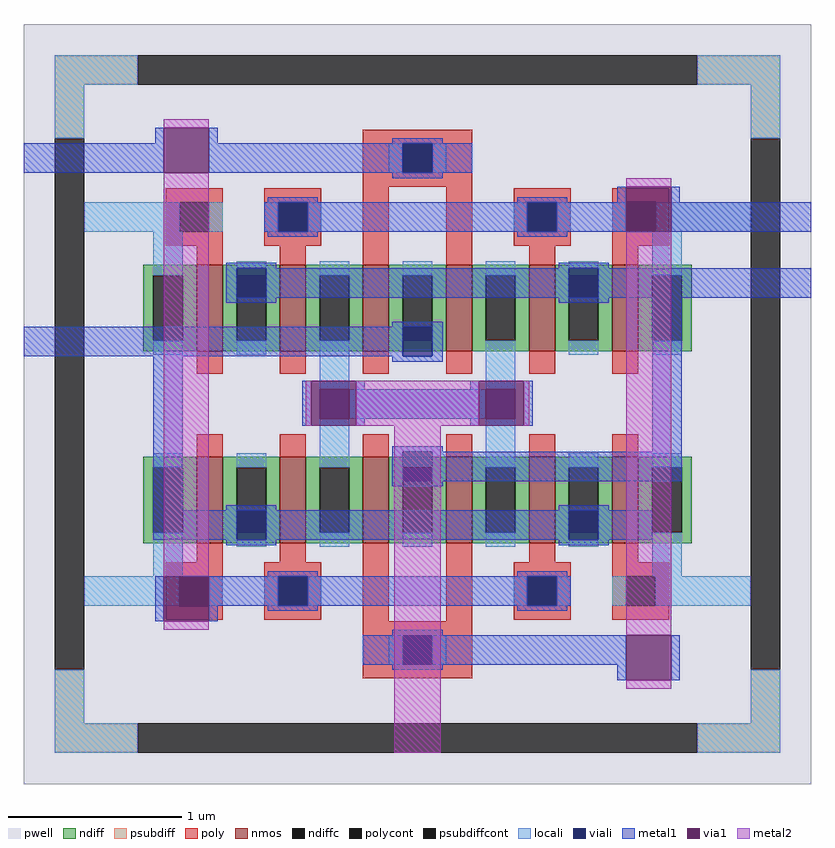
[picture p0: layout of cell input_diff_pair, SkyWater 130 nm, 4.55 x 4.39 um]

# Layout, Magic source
magic
tech sky130A
magscale 1 2
<< pwell >>
rect -455 -548 455 330
<< nmos >>
rect -255 -48 -225 52
rect -159 -48 -129 52
rect -63 -48 -33 52
rect 33 -48 63 52
rect 129 -48 159 52
rect 225 -48 255 52
rect -255 -270 -225 -170
rect -159 -270 -129 -170
rect -63 -270 -33 -170
rect 33 -270 63 -170
rect 129 -270 159 -170
rect 225 -270 255 -170
<< ndiff >>
rect -317 40 -255 52
rect -317 -36 -305 40
rect -271 -36 -255 40
rect -317 -48 -255 -36
rect -225 40 -159 52
rect -225 -36 -209 40
rect -175 -36 -159 40
rect -225 -48 -159 -36
rect -129 40 -63 52
rect -129 -36 -113 40
rect -79 -36 -63 40
rect -129 -48 -63 -36
rect -33 40 33 52
rect -33 -36 -17 40
rect 17 -36 33 40
rect -33 -48 33 -36
rect 63 40 129 52
rect 63 -36 79 40
rect 113 -36 129 40
rect 63 -48 129 -36
rect 159 40 225 52
rect 159 -36 175 40
rect 209 -36 225 40
rect 159 -48 225 -36
rect 255 40 317 52
rect 255 -36 271 40
rect 305 -36 317 40
rect 255 -48 317 -36
rect -317 -182 -255 -170
rect -317 -258 -305 -182
rect -271 -258 -255 -182
rect -317 -270 -255 -258
rect -225 -182 -159 -170
rect -225 -258 -209 -182
rect -175 -258 -159 -182
rect -225 -270 -159 -258
rect -129 -182 -63 -170
rect -129 -258 -113 -182
rect -79 -258 -63 -182
rect -129 -270 -63 -258
rect -33 -182 33 -170
rect -33 -258 -17 -182
rect 17 -258 33 -182
rect -33 -270 33 -258
rect 63 -182 129 -170
rect 63 -258 79 -182
rect 113 -258 129 -182
rect 63 -270 129 -258
rect 159 -182 225 -170
rect 159 -258 175 -182
rect 209 -258 225 -182
rect 159 -270 225 -258
rect 255 -182 317 -170
rect 255 -258 271 -182
rect 305 -258 317 -182
rect 255 -270 317 -258
<< ndiffc >>
rect -305 -36 -271 40
rect -209 -36 -175 40
rect -113 -36 -79 40
rect -17 -36 17 40
rect 79 -36 113 40
rect 175 -36 209 40
rect 271 -36 305 40
rect -305 -258 -271 -182
rect -209 -258 -175 -182
rect -113 -258 -79 -182
rect -17 -258 17 -182
rect 79 -258 113 -182
rect 175 -258 209 -182
rect 271 -258 305 -182
<< psubdiff >>
rect -419 260 -323 294
rect 323 260 419 294
rect -419 198 -385 260
rect 385 198 419 260
rect -419 -478 -385 -416
rect 385 -478 419 -416
rect -419 -512 -323 -478
rect 323 -512 419 -478
<< psubdiffcont >>
rect -323 260 323 294
rect -419 -416 -385 198
rect 385 -416 419 198
rect -323 -512 323 -478
<< poly >>
rect -63 192 63 208
rect -63 158 -17 192
rect 17 158 63 192
rect -63 142 63 158
rect -291 124 -225 140
rect -291 90 -275 124
rect -241 90 -225 124
rect -291 74 -225 90
rect -177 124 -111 140
rect -177 90 -161 124
rect -127 90 -111 124
rect -177 74 -111 90
rect -255 52 -225 74
rect -159 52 -129 74
rect -63 52 -33 142
rect 33 52 63 142
rect 111 124 177 140
rect 111 90 127 124
rect 161 90 177 124
rect 111 74 177 90
rect 225 124 291 140
rect 225 90 241 124
rect 275 90 291 124
rect 225 74 291 90
rect 129 52 159 74
rect 225 52 255 74
rect -255 -74 -225 -48
rect -159 -74 -129 -48
rect -63 -74 -33 -48
rect 33 -74 63 -48
rect 129 -74 159 -48
rect 225 -74 255 -48
rect -255 -170 -225 -144
rect -159 -170 -129 -144
rect -63 -170 -33 -144
rect 33 -170 63 -144
rect 129 -170 159 -144
rect 225 -170 255 -144
rect -255 -292 -225 -270
rect -159 -292 -129 -270
rect -291 -308 -225 -292
rect -291 -342 -275 -308
rect -241 -342 -225 -308
rect -291 -358 -225 -342
rect -177 -308 -111 -292
rect -177 -342 -161 -308
rect -127 -342 -111 -308
rect -177 -358 -111 -342
rect -63 -360 -33 -270
rect 33 -360 63 -270
rect 129 -292 159 -270
rect 225 -292 255 -270
rect 111 -308 177 -292
rect 111 -342 127 -308
rect 161 -342 177 -308
rect 111 -358 177 -342
rect 225 -308 291 -292
rect 225 -342 241 -308
rect 275 -342 291 -308
rect 225 -358 291 -342
rect -63 -376 63 -360
rect -63 -410 -17 -376
rect 17 -410 63 -376
rect -63 -426 63 -410
<< polycont >>
rect -17 158 17 192
rect -275 90 -241 124
rect -161 90 -127 124
rect 127 90 161 124
rect 241 90 275 124
rect -275 -342 -241 -308
rect -161 -342 -127 -308
rect 127 -342 161 -308
rect 241 -342 275 -308
rect -17 -410 17 -376
<< locali >>
rect -419 260 -323 294
rect 323 260 419 294
rect -419 198 -385 260
rect 385 198 419 260
rect -33 158 -17 192
rect 17 158 33 192
rect -385 90 -275 124
rect -241 90 -225 124
rect -177 90 -161 124
rect -127 90 -111 124
rect 111 90 127 124
rect 161 90 177 124
rect 225 90 241 124
rect 275 90 385 124
rect -305 40 -271 90
rect -305 -52 -271 -36
rect -209 48 -175 56
rect -209 -52 -175 -36
rect -113 40 -79 56
rect -113 -92 -79 -36
rect -17 40 17 56
rect 79 40 113 56
rect 79 -92 113 -36
rect 175 48 209 56
rect 175 -52 209 -36
rect 271 40 305 90
rect 271 -52 305 -36
rect -79 -126 79 -92
rect -305 -182 -271 -166
rect -305 -308 -271 -258
rect -209 -182 -175 -166
rect -209 -274 -175 -266
rect -113 -182 -79 -126
rect -113 -274 -79 -258
rect -17 -274 17 -258
rect 79 -182 113 -126
rect 79 -274 113 -258
rect 175 -182 209 -166
rect 175 -274 209 -266
rect 271 -182 305 -166
rect 271 -308 305 -258
rect -385 -342 -275 -308
rect -241 -342 -225 -308
rect -177 -342 -161 -308
rect -127 -342 -111 -308
rect 111 -342 127 -308
rect 161 -342 177 -308
rect 225 -342 241 -308
rect 275 -342 385 -308
rect -33 -410 -17 -376
rect 17 -410 33 -376
rect -419 -478 -385 -416
rect 385 -478 419 -416
rect -419 -512 -323 -478
rect 323 -512 419 -478
<< viali >>
rect -17 158 17 192
rect -161 90 -127 124
rect 127 90 161 124
rect -209 40 -175 48
rect -209 14 -175 40
rect -17 -36 17 -20
rect -17 -54 17 -36
rect 175 40 209 48
rect 175 14 209 40
rect -113 -126 -79 -92
rect 79 -126 113 -92
rect -209 -258 -175 -232
rect -209 -266 -175 -258
rect -17 -182 17 -164
rect -17 -198 17 -182
rect 175 -258 209 -232
rect 175 -266 209 -258
rect -161 -342 -127 -308
rect 127 -342 161 -308
rect -17 -410 17 -376
<< metal1 >>
rect -303 192 -293 210
rect -455 158 -293 192
rect -241 192 -231 210
rect -29 192 29 198
rect -241 158 -17 192
rect 17 158 63 192
rect -29 152 29 158
rect -173 124 -115 130
rect 115 124 173 130
rect 231 124 241 142
rect -177 90 -161 124
rect -127 90 127 124
rect 161 90 241 124
rect 293 124 303 142
rect 293 90 455 124
rect -173 84 -115 90
rect 115 84 173 90
rect -221 48 -163 54
rect 163 48 221 54
rect -221 14 -209 48
rect -175 14 175 48
rect 209 14 455 48
rect -221 8 -163 14
rect 163 8 221 14
rect -29 -20 29 -14
rect -455 -54 -17 -20
rect 17 -54 29 -20
rect -305 -232 -271 -54
rect -29 -60 29 -54
rect -133 -134 -123 -82
rect -71 -92 -61 -82
rect 61 -92 71 -82
rect -71 -126 71 -92
rect -71 -134 -61 -126
rect 61 -134 71 -126
rect 123 -134 133 -82
rect -29 -164 29 -158
rect 271 -164 305 14
rect -29 -198 -17 -164
rect 17 -198 305 -164
rect -29 -204 29 -198
rect -221 -232 -163 -226
rect 163 -232 221 -226
rect -305 -266 -209 -232
rect -175 -266 175 -232
rect 209 -266 271 -232
rect -221 -272 -163 -266
rect 163 -272 221 -266
rect -173 -308 -115 -302
rect 115 -308 173 -302
rect -303 -360 -293 -308
rect -241 -342 -161 -308
rect -127 -342 127 -308
rect 161 -342 177 -308
rect -241 -360 -231 -342
rect -173 -348 -115 -342
rect 115 -348 173 -342
rect -29 -376 29 -370
rect -63 -410 -17 -376
rect 17 -410 241 -376
rect -29 -416 29 -410
rect 231 -428 241 -410
rect 293 -428 303 -376
<< via1 >>
rect -293 158 -241 210
rect 241 90 293 142
rect -123 -92 -71 -82
rect 71 -92 123 -82
rect -123 -126 -113 -92
rect -113 -126 -79 -92
rect -79 -126 -71 -92
rect 71 -126 79 -92
rect 79 -126 113 -92
rect 113 -126 123 -92
rect -123 -134 -71 -126
rect 71 -134 123 -126
rect -293 -360 -241 -308
rect 241 -428 293 -376
<< metal2 >>
rect -293 210 -241 220
rect -293 -308 -241 158
rect 241 142 293 152
rect -129 -134 -123 -82
rect -71 -134 71 -82
rect 123 -134 129 -82
rect -293 -370 -241 -360
rect -27 -512 27 -134
rect 241 -376 293 90
rect 241 -438 293 -428
<< properties >>
string FIXED_BBOX -402 -206 402 206
string gencell sky130_fd_pr__nfet_01v8
string library sky130
string parameters w 0.5 l 0.150 m 1 nf 6 diffcov 100 polycov 100 guard 1 glc 1 grc 1 gtc 1 gbc 1 tbcov 100 rlcov 100 topc 1 botc 1 poverlap 0 doverlap 1 lmin 0.15 wmin 0.42 compatible {sky130_fd_pr__nfet_01v8 sky130_fd_pr__nfet_01v8_lvt  sky130_fd_bs_flash__special_sonosfet_star  sky130_fd_pr__nfet_g5v0d10v5 sky130_fd_pr__nfet_05v0_nvt  sky130_fd_pr__nfet_03v3_nvt} full_metal 1 viasrc 100 viadrn 100 viagate 100 viagb 0 viagr 0 viagl 0 viagt 0
<< end >>
